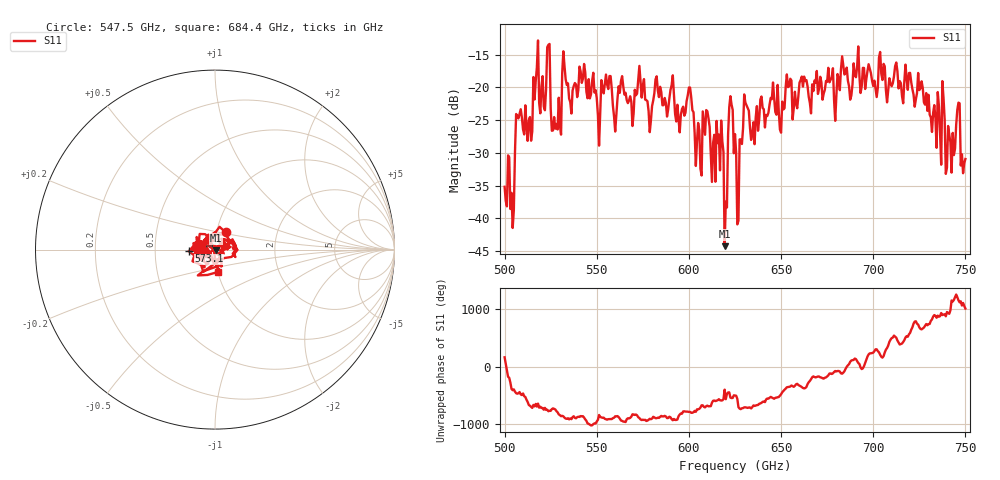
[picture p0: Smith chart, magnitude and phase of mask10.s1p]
!Created with skrf (http://scikit-rf.org).
# GHz S MA R 50.0
!freq magS11 angS11
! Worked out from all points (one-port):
!   401 points, 500 GHz to 750 GHz, reference 50 ohm
!   lowest |S11| = -44.3 dB at 619.4 GHz (marker M1), VSWR 1.01, Z = 50.5 - j0.415 ohm
!   |S11| at or under -10 dB: start of sweep to end of sweep
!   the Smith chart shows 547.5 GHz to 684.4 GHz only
!   S11 on the Smith chart (normalised r, x): 547.5 GHz: 1.11, +0.21; 573.1 GHz: 0.75, -0.01; 684.4 GHz: 1.01, -0.25
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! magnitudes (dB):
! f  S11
! 500 GHz  -35.2
! 504.4 GHz  -41.5
! 507.5 GHz  -24.7
! 513.8 GHz  -24.5
! 516.9 GHz  -19.0
! 523.8 GHz  -13.5
! 526.9 GHz  -24.5
! 531.2 GHz  -17.8
! 547.5 GHz  -19.0
! 562.5 GHz  -20.8
! 573.1 GHz  -16.7
! 593.8 GHz  -22.7
! 610 GHz  -23.6
! 613.1 GHz  -28.5
! 617.5 GHz  -25.1
! 619.4 GHz  -44.3
! 622.5 GHz  -21.3
! 625 GHz  -27.1
! 627.5 GHz  -27.9
! 631.2 GHz  -22.7
! 634.4 GHz  -27.2
! 656.2 GHz  -24.9
! 684.4 GHz  -18.0
! 687.5 GHz  -21.9
! 718.8 GHz  -20.4
! 740.6 GHz  -25.9
! 745.6 GHz  -23.4
! 750 GHz  -30.9
